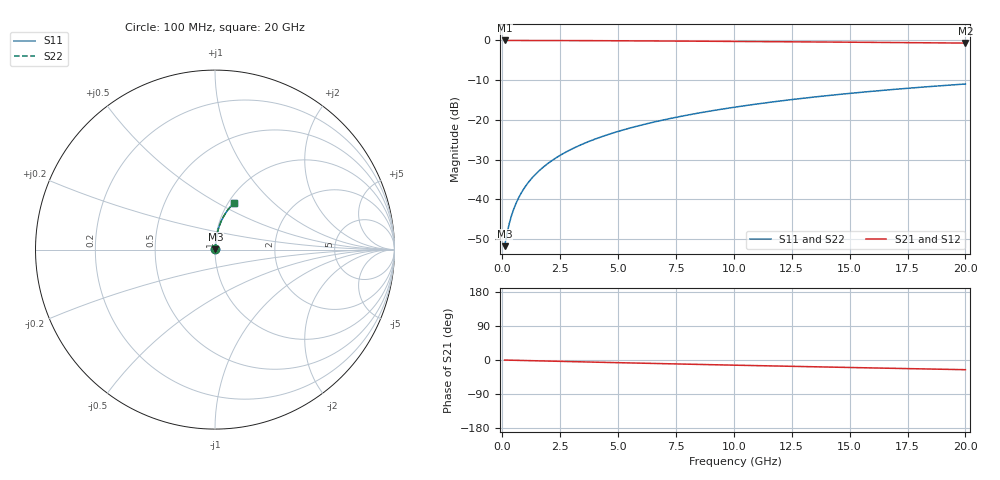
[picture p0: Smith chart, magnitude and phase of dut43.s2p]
! Touchstone file exported from HFSS 2024.1.0
!  File:  C:/UserFiles/LocalFiles/RDL_TSV_Batchsim/temp_RDL_bottom_43_1778692627.aedt
!  Generated:  01:19:48 AM May 14, 2026
!  Design:  RDL_bottom
!  Project:  temp_RDL_bottom_43_1778692627
!  Setup:  Setup1
!  Solution:  Sweep
! Variables:
!  dtsv = 10.80580581um
!  hbump = 3um
!  htsv = 99.99um
!  ldown = 340.3um
!  lrdl = 100um
!  p = 40
!  p1 = 41.39um
!  rhole = 1um
!  t = 450um
!  tdown = 4.16um
!  trdl = 3.915915916um
!  wdown = 14.76um
!  wrdl = 20um
# GHz S MA R 50.000000
! Terminal data exported
! Port[1] = RDL1_T1
! Port[2] = RDL1_T2
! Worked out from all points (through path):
!   200 points, 100 MHz to 20 GHz, reference 50 ohm
!   highest |S21| = -0.02 dB at 100 MHz (marker M1); lowest = -0.7 dB at 20 GHz (marker M2)
!   group delay of S21, straight-line fit = 3.54 ps
!   lowest |S11| = -51.8 dB at 100 MHz (marker M3), VSWR 1.01, Z = 50.2 + j0.152 ohm
!   |S11| at or under -10 dB: start of sweep to end of sweep
!   |S22| runs from -51.8 to -11.0 dB; largest |S21 - S12| = 4e-15
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0.1  0.002582 35.9  0.9979 -0.1  0.9979 -0.1  0.002582 35.9
! Gamma 0 0 0 0
! Port Impedance 50 0 50 0
0.2  0.003689 54.2  0.9978 -0.3  0.9978 -0.3  0.003689 54.2
0.3  0.004964 63.3  0.9978 -0.4  0.9978 -0.4  0.004964 63.3
0.4  0.006292 68.7  0.9977 -0.6  0.9977 -0.6  0.006292 68.7
0.5  0.007645 72.1  0.9976 -0.7  0.9976 -0.7  0.007645 72.1
0.6  0.009015 74.6  0.9975 -0.9  0.9975 -0.9  0.009015 74.6
0.8  0.01179 77.8  0.9974 -1.2  0.9974 -1.2  0.01179 77.8
1.1  0.01599 80.5  0.9971 -1.6  0.9971 -1.6  0.01599 80.5
1.5  0.02165 82.3  0.9967 -2.2  0.9967 -2.2  0.02165 82.2
1.8  0.0259 83.0  0.9963 -2.6  0.9963 -2.6  0.0259 83.0
2.1  0.03017 83.4  0.9959 -3.0  0.9959 -3.0  0.03017 83.4
2.7  0.03871 83.8  0.9949 -3.9  0.9949 -3.9  0.03871 83.8
3.5  0.05012 83.9  0.9931 -5.0  0.9931 -5.0  0.05012 83.9
4.2  0.06014 83.7  0.9914 -6.0  0.9914 -6.0  0.06013 83.7
5  0.07162 83.3  0.9891 -7.1  0.9891 -7.1  0.07161 83.3
5.9  0.08458 82.7  0.9862 -8.3  0.9862 -8.3  0.08458 82.7
6.8  0.09759 82.0  0.9831 -9.5  0.9831 -9.5  0.09759 82.0
8.3  0.1194 80.7  0.9776 -11.5  0.9776 -11.5  0.1194 80.7
10.1  0.1455 78.9  0.9704 -13.8  0.9704 -13.8  0.1455 78.9
13.4  0.193 75.3  0.9562 -17.8  0.9562 -17.8  0.1929 75.3
16.7  0.2389 71.5  0.941 -21.8  0.941 -21.8  0.2389 71.5
20  0.2828 67.6  0.925 -25.6  0.925 -25.6  0.2828 67.6
